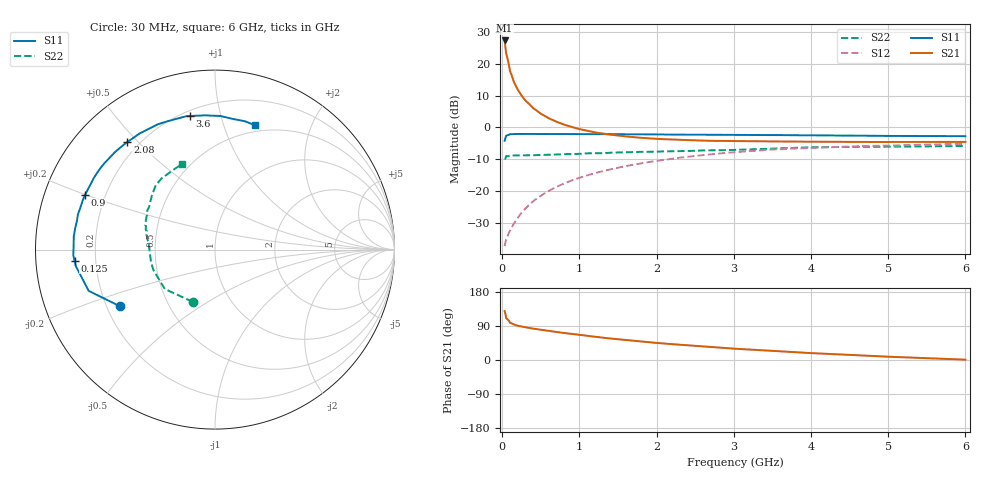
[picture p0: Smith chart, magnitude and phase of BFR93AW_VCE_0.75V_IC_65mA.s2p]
! Infineon Technologies  Discrete & RF Semiconductors
! BFR93AW
! VCE = 0.75 V,  IC =  65 mA
! Common Emitter S-Parameters:  Nov 2015
# GHz  S  MA  R  50
!  f  S11  S21  S12  S22
! GHz  MAG  ANG  MAG  ANG  MAG  ANG  MAG  ANG
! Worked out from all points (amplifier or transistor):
!   206 points, 30 MHz to 6 GHz, reference 50 ohm
!   highest |S21| = 27.3 dB at 30 MHz (marker M1)
!   |S21| within 3 dB of that: start of sweep to 45.19 MHz
!   unconditionally stable (mu >= 1): start of sweep to 41.95 MHz; 61.97 MHz to end of sweep
!   at 200 MHz: K = 1.43, MAG = 16.2 dB, |S12| = -28.4 dB
!   at 1.56 GHz: K = 1.33, MAG = 1.4 dB, |S12| = -12.4 dB
!   at 6 GHz: K = 1.06, MAG = -1.3 dB, |S12| = -5.1 dB
!   S11 on the Smith chart (normalised r, x): 30 MHz: 0.25, -0.26; 125 MHz: 0.12, -0.04; 900 MHz: 0.13, +0.20; 2.08 GHz: 0.16, +0.47; 3.6 GHz: 0.23, +0.80; 6 GHz: 0.44, +1.28
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0.03  0.6162 -149.1  23.25 128.9  0.0136 50.9  0.3165 -113.0
0.05  0.7404 -161.9  14.57 110.2  0.0174 47.0  0.3553 -141.8
0.1  0.7806 -173.2  7.674 98.2  0.0239 54.0  0.3617 -161.5
0.125  0.7847 -175.5  6.412 96.4  0.0273 57.5  0.3617 -165.1
0.15  0.7901 -177.6  5.161 93.6  0.0308 60.2  0.3631 -168.6
0.2  0.7878 179.2  3.911 90.3  0.0379 64.8  0.3628 -172.7
0.24  0.7875 177.3  3.295 88.6  0.0441 67.0  0.3639 -174.9
0.3  0.7902 174.9  2.639 86.1  0.0531 68.8  0.364 -177.3
0.4  0.7883 171.3  2.009 82.7  0.0691 70.0  0.3655 179.3
0.5  0.7857 168.2  1.637 79.7  0.0843 70.5  0.3686 176.9
0.6  0.7884 165.5  1.397 77.0  0.1004 70.4  0.371 175.1
0.7  0.7854 162.3  1.232 73.8  0.1159 69.4  0.3735 173.5
0.9  0.7854 157.0  1.013 68.8  0.1468 67.7  0.3812 170.5
1.04  0.783 153.3  0.918 65.3  0.1676 66.1  0.3869 168.5
1.4  0.7831 144.4  0.768 56.7  0.2189 61.3  0.4011 164.1
2.02  0.7743 130.5  0.659 44.8  0.2998 52.9  0.4177 157.4
2.08  0.7729 129.2  0.654 43.8  0.3076 52.0  0.4188 156.5
3.1  0.761 109.1  0.609 28.8  0.4148 37.9  0.4464 144.0
3.6  0.7571 100.6  0.6 22.7  0.4538 31.2  0.468 137.8
4.1  0.7483 93.0  0.595 17.3  0.4828 24.9  0.4886 131.6
5.1  0.734 81.0  0.589 7.9  0.522 14.4  0.4982 120.7
6  0.7279 72.0  0.592 0.9  0.5534 6.5  0.511 110.9
